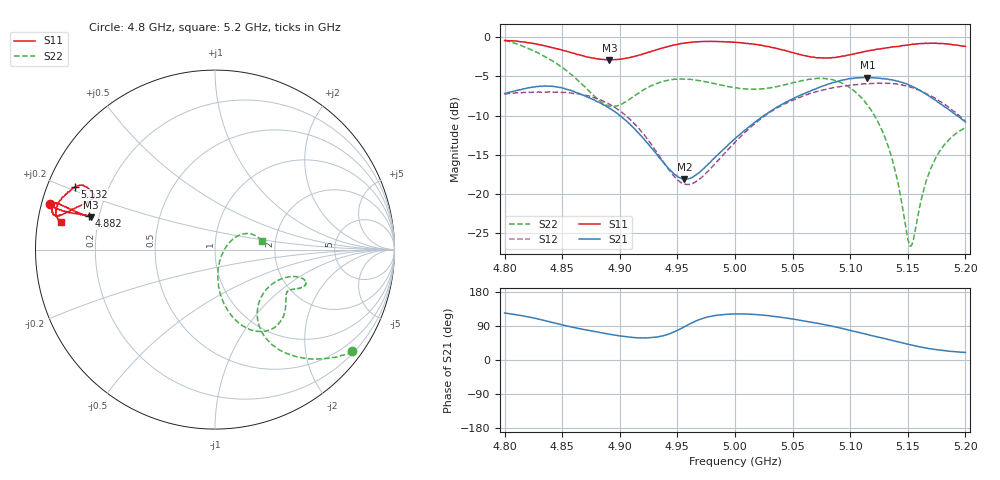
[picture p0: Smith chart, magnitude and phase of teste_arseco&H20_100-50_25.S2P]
! Network Analyzer HP8722D
! Hewlett-Packard
! Data name: Linha & Wilkinson
! Saver's name: Rodrigo Anjos
! Comments: Teste da utilização de aquisição
! continua pelo VNA HP8722D
! Time and date: 6/5/2025 12:46
!  Frequency  S11  S21  S12  S22
# HZ  S  MA R 50
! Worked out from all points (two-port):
!   401 points, 4.8 GHz to 5.2 GHz, reference 50 ohm
!   highest |S21| = -5.15 dB at 5.115 GHz (marker M1); lowest = -18.1 dB at 4.956 GHz (marker M2)
!   |S21| within 3 dB of the highest: start of sweep to 4.879 GHz; 5.046 GHz to 5.175 GHz (129 MHz wide, 2.52 % of centre)
!   lowest |S11| = -2.9 dB at 4.891 GHz (marker M3), VSWR 6.03, Z = 8.43 + j6.29 ohm
!   |S11| at or under -10 dB: nowhere
!   |S22| runs from -26.6 to -0.4 dB; largest |S21 - S12| = 0.71
!   S11 on the Smith chart (normalised r, x): 4.8 GHz: 0.03, +0.14; 4.882 GHz: 0.16, +0.13; 5.132 GHz: 0.08, +0.21; 5.2 GHz: 0.07, +0.09
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4.8e9  0.9518 164.4  0.4377 124.1  0.434 19.1  0.9514 -36.5
4.834e9  0.8821 165.7  0.4883 104.7  0.4465 8.6  0.7578 -52.2
4.867e9  0.7636 165.2  0.4306 81.3  0.4305 -5.2  0.5033 -60.1
4.882e9  0.7249 165.1  0.3839 73.0  0.402 -13.8  0.3956 -52.7
4.891e9  0.7155 165.3  0.3524 68.0  0.3742 -19.5  0.3639 -42.5
4.911e9  0.7486 165.4  0.2688 59.6  0.2896 -30.4  0.4142 -22.5
4.934e9  0.8404 164.4  0.1719 61.6  0.1771 -32.7  0.5125 -18.3
4.956e9  0.9138 163.6  0.1249 87.5  0.1162 -5.4  0.5396 -21.1
4.97e9  0.9357 164.1  0.1395 107.5  0.1261 18.4  0.5271 -23.7
5e9  0.9254 167.4  0.2258 121.5  0.2144 39.9  0.4752 -28.1
5.036e9  0.8468 165.7  0.3569 114.1  0.3519 35.2  0.483 -35.1
5.067e9  0.748 158.5  0.4595 99.5  0.4424 21.9  0.5407 -47.6
5.092e9  0.7527 155.1  0.5304 84.0  0.4853 7.9  0.5135 -62.6
5.115e9  0.8161 154.1  0.5526 67.3  0.5045 -5.7  0.3702 -76.5
5.132e9  0.854 155.9  0.5403 54.9  0.5085 -16.6  0.2108 -84.4
5.134e9  0.8577 156.3  0.5353 53.5  0.5075 -18.0  0.1912 -84.5
5.141e9  0.8723 158.0  0.5239 48.5  0.5011 -22.9  0.1221 -82.0
5.15e9  0.89 160.2  0.499 41.7  0.4856 -28.9  0.05183 -48.9
5.153e9  0.8965 160.9  0.4887 39.4  0.4782 -31.0  0.0469 -18.6
5.164e9  0.9102 163.8  0.4411 32.6  0.4444 -37.8  0.108 29.6
5.172e9  0.915 165.6  0.4054 28.6  0.4152 -42.1  0.1576 30.6
5.2e9  0.8724 169.9  0.288 19.9  0.2921 -52.1  0.2645 10.2
